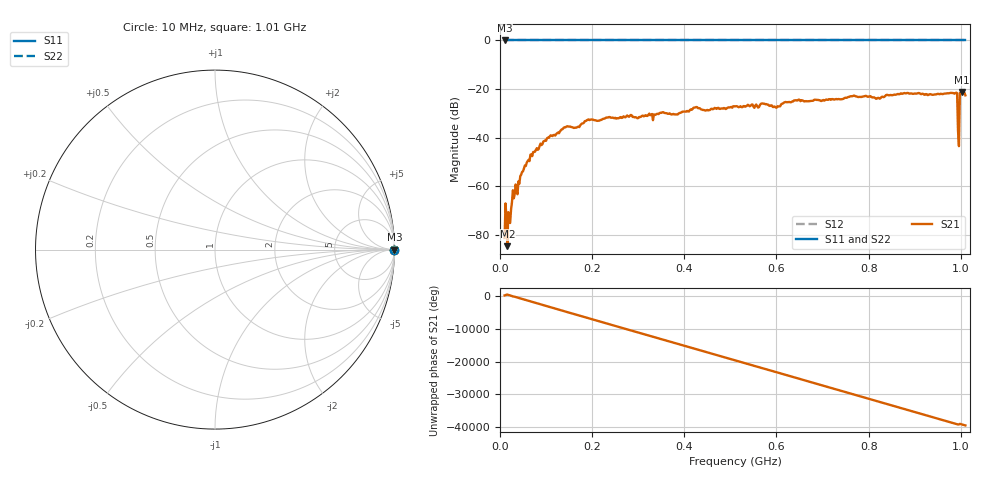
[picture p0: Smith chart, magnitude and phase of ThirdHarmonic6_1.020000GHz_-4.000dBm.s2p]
! 8/16/2025 8:32:08 AM
! C:\ANRITSUVNA\TEMP\TEMP.S2P
! CHANNEL.1
! TR.MEASUREMENT
! RAW.DATA
! RF.CORRECTION.OFF
! AVERAGING.OFF
! IF.BANDWIDTH: 5KHZ
! SWEEPTYPE:  FREQ.SWEEP(Linear)
! Reference Plane Port Info
! PORT:  PORT1  PORT2
! DISTANCE:  0  m  0  m
! TIME:  0  s  0  s
! PHASE.OFFSET:  0  deg.  0  deg.
! LOSS:  0  dB  0  dB
! REF.LOSS:  0  dB  0  dB
! REF.FREQ:  0  Hz  0  Hz
! Power Info
! POWER:  -20  dBm  -20  dBm
! EFF.POWER:  -20  dBm  -20  dBm
! SOURCE.ATTEN:  0  dB  0  dB
! TEST.ATTEN:  0  dB  0  dB
# GHZ S RI R 50.0
! FREQ.GHZ  S11RE  S11IM  S21RE  S21IM  S12RE  S12IM  S22RE  S22IM
!; PortSelection: Port_12
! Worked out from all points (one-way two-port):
!   501 points, 10 MHz to 1.01 GHz, reference 50 ohm
!   highest |S21| = -21.25 dB at 1.002 GHz (marker M1); lowest = -84.6 dB at 16 MHz (marker M2)
!   lowest |S11| = 0.0 dB at 10 MHz (marker M3)
!   |S11| at or under -10 dB: nowhere
!   |S22| runs from 0.0 to 0.0 dB; largest |S21 - S12| = 1.1
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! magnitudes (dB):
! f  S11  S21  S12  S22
! 10 MHz  0.0  -81.3  0.0  0.0
! 16 MHz  0.0  -84.6  0.0  0.0
! 20 MHz  0.0  -74.7  0.0  0.0
! 30 MHz  0.0  -64.9  0.0  0.0
! 40 MHz  0.0  -58.0  0.0  0.0
! 48 MHz  0.0  -54.1  0.0  0.0
! 70 MHz  0.0  -47.6  0.0  0.0
! 106 MHz  0.0  -40.0  0.0  0.0
! 142 MHz  0.0  -35.8  0.0  0.0
! 178 MHz  0.0  -34.2  0.0  0.0
! 194 MHz  0.0  -32.8  0.0  0.0
! 344 MHz  0.0  -30.3  0.0  0.0
! 510 MHz  0.0  -27.1  0.0  0.0
! 570 MHz  0.0  -25.9  0.0  0.0
! 596 MHz  0.0  -27.2  0.0  0.0
! 678 MHz  0.0  -24.8  0.0  0.0
! 844 MHz  0.0  -22.6  0.0  0.0
! 988 MHz  0.0  -21.7  0.0  0.0
! 992 MHz  0.0  -21.7  0.0  0.0
! 998 MHz  0.0  -21.6  0.0  0.0
! 1.002 GHz  0.0  -21.2  0.0  0.0
! 1.01 GHz  0.0  -22.6  0.0  0.0
